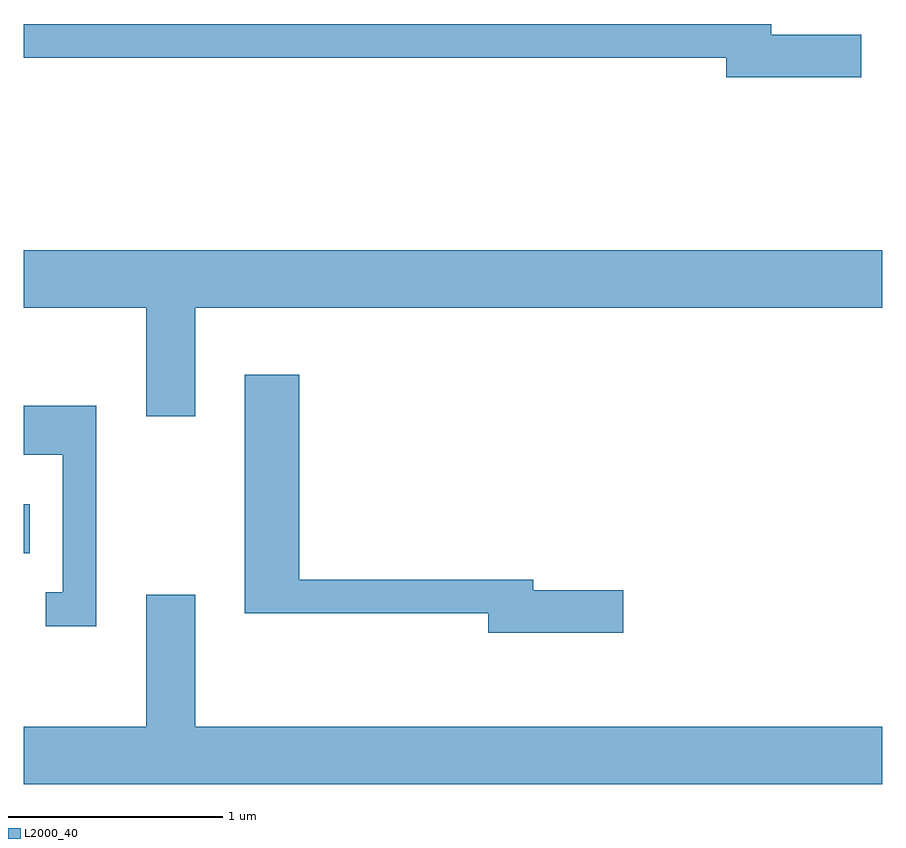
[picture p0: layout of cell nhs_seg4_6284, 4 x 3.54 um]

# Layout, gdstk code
import gdstk
lib = gdstk.Library(unit=1e-6, precision=1e-09)
def R(c, l, rs):  # rectangles x0, y0, x1, y1
    for r in rs: c.add(gdstk.rectangle(r[:2], r[2:], *l))
def P(c, l, *ps):  # polygons
    for p in ps: c.add(gdstk.Polygon(p, *l))
L2000_40 = (2000, 40)

nhs_seg4_6284 = lib.new_cell('nhs_seg4_6284')
R(nhs_seg4_6284, L2000_40, [(369.611,1311.351,369.639,1311.579)])
P(nhs_seg4_6284, L2000_40, [(373.514,1313.769),(373.094,1313.769),(373.094,1313.819),(369.611,1313.819),(369.611,1313.661),(372.886,1313.661),(372.886,1313.571),(373.514,1313.571)],
  [(370.409,1312.496),(373.611,1312.496),(373.611,1312.764),(369.611,1312.764),(369.611,1312.496),(370.181,1312.496),(370.181,1311.991),(370.409,1311.991)],
  [(372.404,1311.179),(371.984,1311.179),(371.984,1311.229),(370.894,1311.229),(370.894,1312.184),(370.641,1312.184),(370.641,1311.071),(371.776,1311.071),(371.776,1310.981),(372.404,1310.981)],
  [(369.949,1312.039),(369.611,1312.039),(369.611,1311.811),(369.791,1311.811),(369.791,1311.169),(369.713,1311.169),(369.713,1311.011),(369.949,1311.011)],
  [(373.611,1310.544),(370.409,1310.544),(370.409,1311.159),(370.181,1311.159),(370.181,1310.544),(369.611,1310.544),(369.611,1310.276),(373.611,1310.276)])

lib.write_gds('nhs_seg4_6284.gds')
